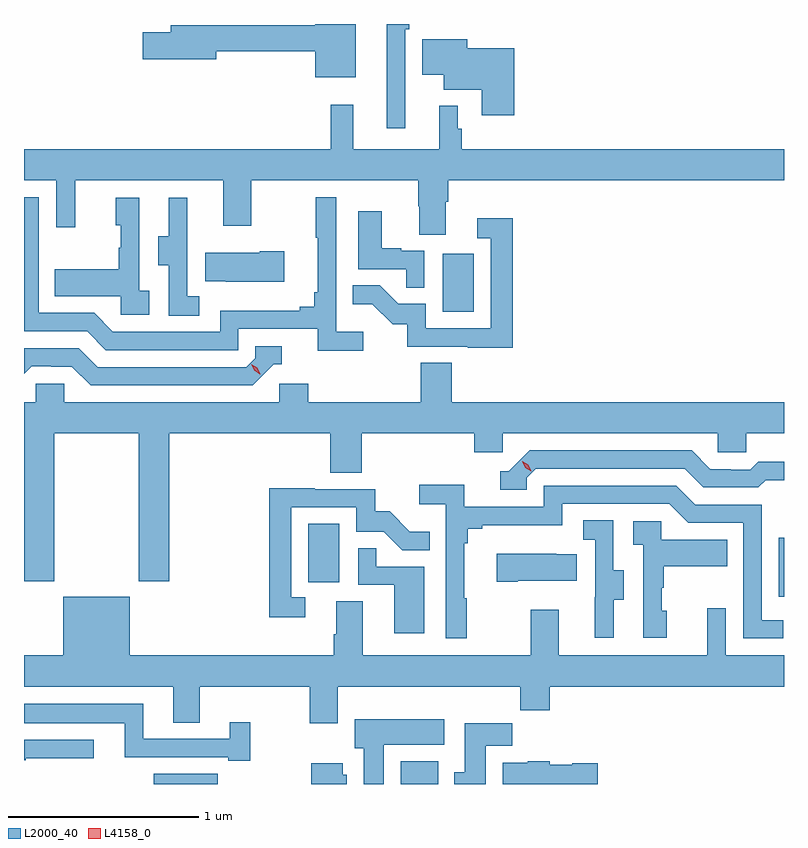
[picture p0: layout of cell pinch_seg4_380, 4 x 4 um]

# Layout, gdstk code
import gdstk
lib = gdstk.Library(unit=1e-6, precision=1e-09)
def R(c, l, rs):  # rectangles x0, y0, x1, y1
    for r in rs: c.add(gdstk.rectangle(r[:2], r[2:], *l))
def P(c, l, *ps):  # polygons
    for p in ps: c.add(gdstk.Polygon(p, *l))
L2000_40 = (2000, 40)
L4158_0 = (4158, 0)

pinch_seg4_380 = lib.new_cell('pinch_seg4_380')
R(pinch_seg4_380, L2000_40, [(1000.781,776.327,1001.119,776.38), (1002.081,776.327,1002.277,776.446), (1004.07,777.312,1004.098,777.622), (1001.594,777.39,1001.758,777.697), (1002.302,778.812,1002.466,779.119)])
P(pinch_seg4_380, L2000_40, [(1002.105,780.299),(1002.125,780.299),(1002.125,780.327),(1002.008,780.327),(1002.008,779.778),(1002.105,779.778)],
  [(1001.845,780.327),(1001.63,780.327),(1001.63,780.32),(1000.871,780.32),(1000.871,780.284),(1000.722,780.284),(1000.722,780.142),(1001.11,780.142),(1001.11,780.184),(1001.63,780.184),(1001.63,780.047),(1001.845,780.047)],
  [(1002.677,780.199),(1002.43,780.199),(1002.43,780.247),(1002.194,780.247),(1002.194,780.059),(1002.308,780.059),(1002.308,779.981),(1002.506,779.981),(1002.506,779.847),(1002.677,779.847)],
  [(1002.319,779.392),(1002.332,779.392),(1002.332,779.504),(1004.098,779.504),(1004.098,779.668),(1002.401,779.668),(1002.401,779.775),(1002.381,779.775),(1002.381,779.896),(1002.284,779.896),(1002.284,779.668),(1001.831,779.668),(1001.831,779.902),(1001.713,779.902),(1001.713,779.668),(1000.098,779.668),(1000.098,779.504),(1000.269,779.504),(1000.269,779.256),(1000.367,779.256),(1000.367,779.504),(1001.147,779.504),(1001.147,779.265),(1001.295,779.265),(1001.295,779.504),(1002.172,779.504),(1002.172,779.367),(1002.179,779.367),(1002.179,779.218),(1002.319,779.218)],
  [(1001.884,778.708),(1001.742,778.708),(1001.742,779.416),(1001.634,779.416),(1001.634,779.203),(1001.645,779.203),(1001.645,778.915),(1001.626,778.915),(1001.626,778.838),(1001.549,778.838),(1001.549,778.819),(1001.13,778.819),(1001.13,778.707),(1000.566,778.707),(1000.467,778.806),(1000.176,778.806),(1000.176,779.415),(1000.098,779.415),(1000.098,778.71),(1000.43,778.71),(1000.529,778.611),(1001.226,778.611),(1001.226,778.722),(1001.645,778.722),(1001.645,778.606),(1001.884,778.606)],
  [(1001.02,778.895),(1000.956,778.895),(1000.956,779.199),(1000.958,779.199),(1000.958,779.413),(1000.859,779.413),(1000.859,779.211),(1000.805,779.211),(1000.805,779.056),(1000.86,779.056),(1000.86,778.792),(1001.02,778.792)],
  [(1000.756,778.922),(1000.704,778.922),(1000.704,779.413),(1000.58,779.413),(1000.58,779.268),(1000.606,779.268),(1000.606,779.15),(1000.596,779.15),(1000.596,779.035),(1000.261,779.035),(1000.261,778.895),(1000.608,778.895),(1000.608,778.797),(1000.756,778.797)],
  [(1002.204,779.133),(1002.083,779.133),(1002.083,779.146),(1001.98,779.146),(1001.98,779.341),(1001.858,779.341),(1001.858,779.037),(1002.109,779.037),(1002.109,778.939),(1002.204,778.939)],
  [(1002.671,779.305),(1002.483,779.305),(1002.483,779.199),(1002.555,779.199),(1002.555,778.725),(1002.213,778.725),(1002.213,778.854),(1002.068,778.854),(1001.97,778.952),(1001.827,778.952),(1001.827,778.853),(1001.931,778.853),(1002.038,778.746),(1002.115,778.746),(1002.115,778.629),(1002.433,778.629),(1002.433,778.624),(1002.671,778.624)],
  [(1001.467,779.13),(1001.339,779.13),(1001.339,779.122),(1001.053,779.122),(1001.053,778.973),(1001.161,778.973),(1001.161,778.97),(1001.467,778.97)],
  [(1001.412,778.536),(1001.455,778.536),(1001.455,778.632),(1001.316,778.632),(1001.316,778.569),(1001.268,778.521),(1000.485,778.521),(1000.386,778.62),(1000.098,778.62),(1000.098,778.486),(1000.139,778.527),(1000.242,778.527),(1000.242,778.524),(1000.349,778.524),(1000.448,778.425),(1001.301,778.425)],
  [(1000.257,778.172),(1000.702,778.172),(1000.702,777.393),(1000.862,777.393),(1000.862,778.172),(1001.711,778.172),(1001.711,777.964),(1001.876,777.964),(1001.876,778.172),(1002.467,778.172),(1002.467,778.074),(1002.618,778.074),(1002.618,778.172),(1003.749,778.172),(1003.749,778.074),(1003.899,778.074),(1003.899,778.172),(1004.098,778.172),(1004.098,778.336),(1002.35,778.336),(1002.35,778.544),(1002.185,778.544),(1002.185,778.336),(1001.594,778.336),(1001.594,778.434),(1001.442,778.434),(1001.442,778.336),(1000.311,778.336),(1000.311,778.434),(1000.161,778.434),(1000.161,778.336),(1000.098,778.336),(1000.098,777.393),(1000.257,777.393)],
  [(1002.744,777.939),(1002.792,777.987),(1003.575,777.987),(1003.674,777.888),(1003.963,777.888),(1004.002,777.927),(1004.098,777.927),(1004.098,778.024),(1003.963,778.024),(1003.921,777.981),(1003.818,777.981),(1003.818,777.984),(1003.711,777.984),(1003.612,778.083),(1002.759,778.083),(1002.648,777.972),(1002.605,777.972),(1002.605,777.876),(1002.744,777.876)],
  [(1002.427,777.305),(1002.415,777.305),(1002.415,777.593),(1002.434,777.593),(1002.434,777.67),(1002.511,777.67),(1002.511,777.689),(1002.93,777.689),(1002.93,777.801),(1003.494,777.801),(1003.593,777.702),(1003.884,777.702),(1003.884,777.093),(1004.093,777.093),(1004.093,777.189),(1003.98,777.189),(1003.98,777.798),(1003.63,777.798),(1003.531,777.897),(1002.834,777.897),(1002.834,777.786),(1002.416,777.786),(1002.416,777.902),(1002.177,777.902),(1002.177,777.8),(1002.318,777.8),(1002.318,777.093),(1002.427,777.093)],
  [(1001.578,777.309),(1001.505,777.309),(1001.505,777.783),(1001.847,777.783),(1001.847,777.654),(1001.991,777.654),(1002.089,777.556),(1002.233,777.556),(1002.233,777.655),(1002.129,777.655),(1002.022,777.762),(1001.946,777.762),(1001.946,777.879),(1001.627,777.879),(1001.627,777.884),(1001.389,777.884),(1001.389,777.204),(1001.578,777.204)],
  [(1003.201,777.298),(1003.255,777.298),(1003.255,777.453),(1003.2,777.453),(1003.2,777.716),(1003.041,777.716),(1003.041,777.613),(1003.104,777.613),(1003.104,777.309),(1003.103,777.309),(1003.103,777.096),(1003.201,777.096)],
  [(1003.48,777.24),(1003.455,777.24),(1003.455,777.359),(1003.465,777.359),(1003.465,777.473),(1003.799,777.473),(1003.799,777.613),(1003.452,777.613),(1003.452,777.711),(1003.305,777.711),(1003.305,777.587),(1003.356,777.587),(1003.356,777.096),(1003.48,777.096)],
  [(1002.205,777.471),(1001.951,777.471),(1001.951,777.569),(1001.856,777.569),(1001.856,777.375),(1002.047,777.375),(1002.047,777.12),(1002.205,777.12)],
  [(1002.697,777.398),(1003.007,777.398),(1003.007,777.535),(1002.899,777.535),(1002.899,777.538),(1002.585,777.538),(1002.585,777.391),(1002.697,777.391)],
  [(1001.749,776.84),(1002.709,776.84),(1002.709,776.716),(1002.866,776.716),(1002.866,776.84),(1004.098,776.84),(1004.098,777.004),(1003.791,777.004),(1003.791,777.253),(1003.694,777.253),(1003.694,777.004),(1002.913,777.004),(1002.913,777.244),(1002.766,777.244),(1002.766,777.004),(1001.881,777.004),(1001.881,777.29),(1001.741,777.29),(1001.741,777.116),(1001.729,777.116),(1001.729,777.004),(1000.654,777.004),(1000.654,777.313),(1000.304,777.313),(1000.304,777.004),(1000.098,777.004),(1000.098,776.84),(1000.883,776.84),(1000.883,776.65),(1001.023,776.65),(1001.023,776.84),(1001.602,776.84),(1001.602,776.646),(1001.749,776.646)],
  [(1001.29,776.653),(1001.18,776.653),(1001.18,776.565),(1000.726,776.565),(1000.726,776.749),(1000.098,776.749),(1000.098,776.648),(1000.628,776.648),(1000.628,776.469),(1001.174,776.469),(1001.174,776.449),(1001.29,776.449)],
  [(1001.992,776.534),(1002.31,776.534),(1002.31,776.668),(1001.84,776.668),(1001.84,776.514),(1001.885,776.514),(1001.885,776.327),(1001.992,776.327)],
  [(1002.529,776.528),(1002.668,776.528),(1002.668,776.647),(1002.419,776.647),(1002.419,776.388),(1002.362,776.388),(1002.362,776.327),(1002.529,776.327)],
  [(1000.106,776.462),(1000.465,776.462),(1000.465,776.559),(1000.098,776.559),(1000.098,776.451),(1000.106,776.451)],
  [(1003.117,776.436),(1002.984,776.436),(1002.984,776.428),(1002.864,776.428),(1002.864,776.446),(1002.75,776.446),(1002.75,776.44),(1002.617,776.44),(1002.617,776.327),(1003.117,776.327)],
  [(1001.797,776.376),(1001.776,776.376),(1001.776,776.437),(1001.611,776.437),(1001.611,776.327),(1001.797,776.327)])
P(pinch_seg4_380, L4158_0, [(1001.34,778.484),(1001.31,778.504),(1001.294,778.537),(1001.294,778.537),(1001.294,778.537),(1001.325,778.517),(1001.341,778.484),(1001.341,778.484)],
  [(1002.768,777.973),(1002.737,777.992),(1002.72,778.025),(1002.72,778.025),(1002.721,778.025),(1002.752,778.006),(1002.768,777.973),(1002.768,777.973)])

lib.write_gds('pinch_seg4_380.gds')
